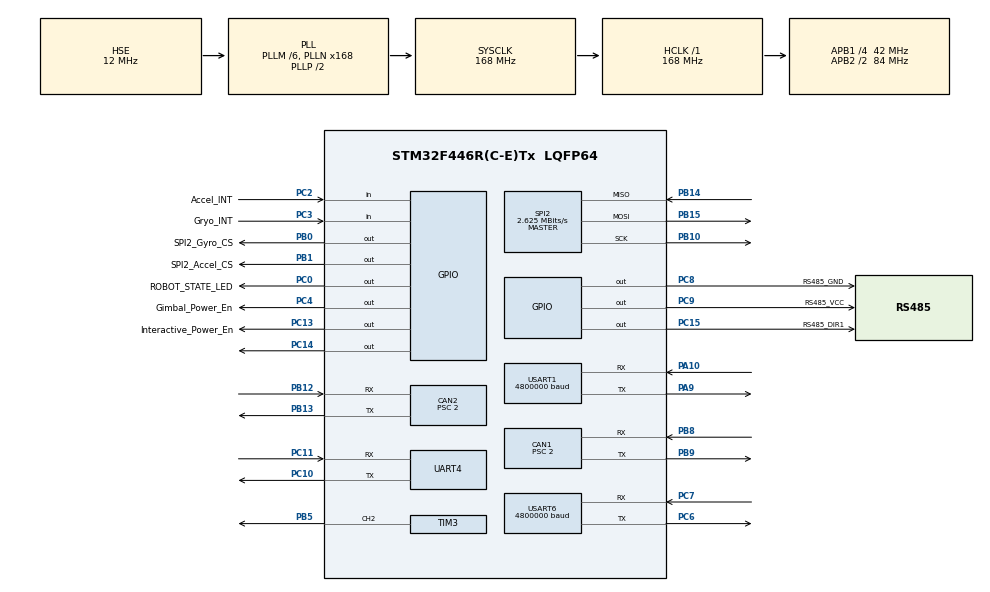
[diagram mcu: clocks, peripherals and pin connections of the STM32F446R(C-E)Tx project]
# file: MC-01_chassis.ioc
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CAN1.BS1=CAN_BS1_15TQ
CAN1.BS2=CAN_BS2_5TQ
CAN1.CalculateBaudRate=1000000
CAN1.CalculateTimeBit=1000
CAN1.CalculateTimeQuantum=47.61904761904762
CAN1.NART=DISABLE
CAN1.Prescaler=2
CAN2.BS1=CAN_BS1_15TQ
CAN2.BS2=CAN_BS2_5TQ
CAN2.CalculateBaudRate=1000000
CAN2.CalculateTimeBit=1000
CAN2.CalculateTimeQuantum=47.61904761904762
CAN2.NART=ENABLE
CAN2.Prescaler=2
Dma.Request0=USART1_RX
Dma.Request1=USART6_RX
Dma.Request2=USART1_TX
Dma.Request3=USART6_TX
Dma.USART1_RX.0.Direction=DMA_PERIPH_TO_MEMORY
Dma.USART1_RX.0.FIFOMode=DMA_FIFOMODE_DISABLE
Dma.USART1_RX.0.Instance=DMA2_Stream2
Dma.USART1_RX.0.MemDataAlignment=DMA_MDATAALIGN_BYTE
Dma.USART1_RX.0.MemInc=DMA_MINC_ENABLE
Dma.USART1_RX.0.Mode=DMA_NORMAL
Dma.USART1_RX.0.PeriphDataAlignment=DMA_PDATAALIGN_BYTE
Dma.USART1_RX.0.PeriphInc=DMA_PINC_DISABLE
Dma.USART1_RX.0.Priority=DMA_PRIORITY_HIGH
Dma.USART1_TX.2.Direction=DMA_MEMORY_TO_PERIPH
Dma.USART1_TX.2.FIFOMode=DMA_FIFOMODE_DISABLE
Dma.USART1_TX.2.Instance=DMA2_Stream7
Dma.USART1_TX.2.MemDataAlignment=DMA_MDATAALIGN_BYTE
Dma.USART1_TX.2.MemInc=DMA_MINC_ENABLE
Dma.USART1_TX.2.Mode=DMA_NORMAL
Dma.USART1_TX.2.PeriphDataAlignment=DMA_PDATAALIGN_BYTE
Dma.USART1_TX.2.PeriphInc=DMA_PINC_DISABLE
Dma.USART1_TX.2.Priority=DMA_PRIORITY_LOW
Dma.USART6_RX.1.Direction=DMA_PERIPH_TO_MEMORY
Dma.USART6_RX.1.FIFOMode=DMA_FIFOMODE_DISABLE
Dma.USART6_RX.1.Instance=DMA2_Stream1
Dma.USART6_RX.1.MemDataAlignment=DMA_MDATAALIGN_BYTE
Dma.USART6_RX.1.MemInc=DMA_MINC_ENABLE
Dma.USART6_RX.1.Mode=DMA_NORMAL
Dma.USART6_RX.1.PeriphDataAlignment=DMA_PDATAALIGN_BYTE
Dma.USART6_RX.1.PeriphInc=DMA_PINC_DISABLE
Dma.USART6_RX.1.Priority=DMA_PRIORITY_HIGH
Dma.USART6_TX.3.Direction=DMA_MEMORY_TO_PERIPH
Dma.USART6_TX.3.FIFOMode=DMA_FIFOMODE_DISABLE
Dma.USART6_TX.3.Instance=DMA2_Stream6
Dma.USART6_TX.3.MemDataAlignment=DMA_MDATAALIGN_BYTE
Dma.USART6_TX.3.MemInc=DMA_MINC_ENABLE
Dma.USART6_TX.3.Mode=DMA_NORMAL
Dma.USART6_TX.3.PeriphDataAlignment=DMA_PDATAALIGN_BYTE
Dma.USART6_TX.3.PeriphInc=DMA_PINC_DISABLE
Dma.USART6_TX.3.Priority=DMA_PRIORITY_LOW
FREERTOS.INCLUDE_vTaskDelayUntil=1
FREERTOS.Tasks01=defaultTask,0,128,StartDefaultTask,Default,NULL,Dynamic,NULL,NULL
Mcu.Family=STM32F4
Mcu.Name=STM32F446R(C-E)Tx
Mcu.Package=LQFP64
NVIC.CAN1_RX0_IRQn=true\:5\:0\:false\:false\:true\:true\:true\:true\:true
NVIC.CAN2_RX0_IRQn=true\:5\:0\:false\:false\:true\:true\:true\:true\:true
NVIC.CAN2_TX_IRQn=true\:5\:0\:false\:false\:true\:true\:true\:true\:true
NVIC.DMA2_Stream1_IRQn=true\:5\:0\:false\:false\:true\:true\:false\:true\:true
NVIC.DMA2_Stream2_IRQn=true\:5\:0\:false\:false\:true\:true\:false\:true\:true
NVIC.DMA2_Stream6_IRQn=true\:5\:0\:false\:false\:true\:true\:false\:true\:true
NVIC.DMA2_Stream7_IRQn=true\:5\:0\:false\:false\:true\:true\:false\:true\:true
NVIC.PriorityGroup=NVIC_PRIORITYGROUP_4
NVIC.TIM1_UP_TIM10_IRQn=true\:5\:0\:false\:false\:true\:false\:false\:true\:true
NVIC.TIM5_IRQn=true\:5\:0\:false\:false\:true\:true\:true\:true\:true
NVIC.TimeBase=TIM1_UP_TIM10_IRQn
NVIC.TimeBaseIP=TIM1
NVIC.UART4_IRQn=true\:5\:0\:false\:false\:true\:true\:true\:true\:true
NVIC.USART1_IRQn=true\:5\:0\:false\:false\:true\:true\:true\:true\:true
NVIC.USART6_IRQn=true\:5\:0\:false\:false\:true\:true\:true\:true\:true
PA10.Mode=Asynchronous
PA10.Signal=USART1_RX
PA13.Mode=Serial_Wire
PA13.Signal=SYS_JTMS-SWDIO
PA14.Mode=Serial_Wire
PA14.Signal=SYS_JTCK-SWCLK
PA9.Mode=Asynchronous
PA9.Signal=USART1_TX
PB0.GPIO_Label=SPI2_Gyro_CS
PB0.Signal=GPIO_Output
PB1.GPIO_Label=SPI2_Accel_CS
PB1.Signal=GPIO_Output
PB10.Mode=Full_Duplex_Master
PB10.Signal=SPI2_SCK
PB12.Mode=CAN_Activate
PB12.Signal=CAN2_RX
PB13.Mode=CAN_Activate
PB13.Signal=CAN2_TX
PB14.Mode=Full_Duplex_Master
PB14.Signal=SPI2_MISO
PB15.Mode=Full_Duplex_Master
PB15.Signal=SPI2_MOSI
PB5.Signal=S_TIM3_CH2
PB8.Mode=CAN_Activate
PB8.Signal=CAN1_RX
PB9.Mode=CAN_Activate
PB9.Signal=CAN1_TX
PC0.GPIO_Label=ROBOT_STATE_LED
PC0.PinState=GPIO_PIN_SET
PC0.Signal=GPIO_Output
PC10.Mode=Asynchronous
PC10.Signal=UART4_TX
PC11.Mode=Asynchronous
PC11.Signal=UART4_RX
PC13.GPIO_Label=Interactive_Power_En
PC13.PinState=GPIO_PIN_SET
PC13.Signal=GPIO_Output
PC14-OSC32_IN.PinState=GPIO_PIN_SET
PC14-OSC32_IN.Signal=GPIO_Output
PC15-OSC32_OUT.GPIO_Label=RS485_DIR1
PC15-OSC32_OUT.PinState=GPIO_PIN_RESET
PC15-OSC32_OUT.Signal=GPIO_Output
PC2.GPIO_Label=Accel_INT
PC2.Signal=GPIO_Input
PC3.GPIO_Label=Gryo_INT
PC3.Signal=GPIO_Input
PC4.GPIO_Label=Gimbal_Power_En
PC4.PinState=GPIO_PIN_SET
PC4.Signal=GPIO_Output
PC6.Mode=Asynchronous
PC6.Signal=USART6_TX
PC7.Mode=Asynchronous
PC7.Signal=USART6_RX
PC8.GPIO_Label=RS485_GND
PC8.Signal=GPIO_Output
PC9.GPIO_Label=RS485_VCC
PC9.PinState=GPIO_PIN_SET
PC9.Signal=GPIO_Output
PH0-OSC_IN.Mode=HSE-External-Oscillator
PH0-OSC_IN.Signal=RCC_OSC_IN
PH1-OSC_OUT.Mode=HSE-External-Oscillator
PH1-OSC_OUT.Signal=RCC_OSC_OUT
ProjectManager.HeapSize=0x200
ProjectManager.StackSize=0x400
ProjectManager.TargetToolchain=MDK-ARM V5.32
RCC.AHBFreq_Value=168000000
RCC.APB1CLKDivider=RCC_HCLK_DIV4
RCC.APB1Freq_Value=42000000
RCC.APB1TimFreq_Value=84000000
RCC.APB2CLKDivider=RCC_HCLK_DIV2
RCC.APB2Freq_Value=84000000
RCC.APB2TimFreq_Value=168000000
RCC.CortexFreq_Value=168000000
RCC.HCLKFreq_Value=168000000
RCC.HSE_VALUE=12000000
RCC.PLLM=6
RCC.PLLN=168
RCC.PLLSourceVirtual=RCC_PLLSOURCE_HSE
RCC.SYSCLKFreq_VALUE=168000000
RCC.SYSCLKSource=RCC_SYSCLKSOURCE_PLLCLK
RCC.USBFreq_Value=168000000
RCC.VCOOutputFreq_Value=336000000
SH.S_TIM3_CH2.0=TIM3_CH2,PWM Generation2 CH2
SPI2.BaudRatePrescaler=SPI_BAUDRATEPRESCALER_16
SPI2.CalculateBaudRate=2.625 MBits/s
SPI2.Direction=SPI_DIRECTION_2LINES
SPI2.Mode=SPI_MODE_MASTER
SPI2.VirtualType=VM_MASTER
TIM3.Channel-PWM\ Generation2\ CH2=TIM_CHANNEL_2
TIM3.Period=4999
TIM5.AutoReloadPreload=TIM_AUTORELOAD_PRELOAD_ENABLE
TIM5.Channel-Output\ Compare1\ No\ Output=TIM_CHANNEL_1
TIM5.Period=1000-1
TIM5.Prescaler=83
UART4.VirtualMode=Asynchronous
USART1.BaudRate=4800000
USART1.VirtualMode=VM_ASYNC
USART6.BaudRate=4800000
USART6.OverSampling=UART_OVERSAMPLING_16
USART6.VirtualMode=VM_ASYNC
VP_FREERTOS_VS_CMSIS_V1.Mode=CMSIS_V1
VP_SYS_VS_tim1.Mode=TIM1
VP_TIM3_VS_ClockSourceINT.Mode=Internal
VP_TIM5_VS_ClockSourceINT.Mode=Internal
VP_TIM5_VS_no_output1.Mode=Output Compare1 No Output
board=custom

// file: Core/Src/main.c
/* USER CODE BEGIN Header */
/**
  ******************************************************************************
  * @file           : main.c
  * @brief          : Main program body
  ******************************************************************************
  * @attention
  *
  * Copyright (c) 2024 STMicroelectronics.
  * All rights reserved.
  *
  * This software is licensed under terms that can be found in the LICENSE file
  * in the root directory of this software component.
  * If no LICENSE file comes with this software, it is provided AS-IS.
  *
  ******************************************************************************
  */
/* USER CODE END Header */
#include "main.h"
#include "cmsis_os.h"
#include "can.h"
#include "dma.h"
#include "spi.h"
#include "tim.h"
#include "usart.h"
#include "gpio.h"

/* USER CODE BEGIN Includes */
#include "BMI088driver.h"
#include "BMI088Middleware.h"
#include "BMI088reg.h"
#include "Dwt_Timer.h"
#include "PID.h"
#include "Can_Bus.h"
#include "RS485.h"
#include "Configuration.h"

/* USER CODE END Includes */

void SystemClock_Config(void);
void MX_FREERTOS_Init(void);
/* USER CODE BEGIN PFP */
void A1_Init_Left(void);
void A1_Init_Right(void);

/* USER CODE END PFP */

/* USER CODE BEGIN 0 */
void User_Init(void)
{
	A1_Init_Left();
  A1_Init_Right();

//	PowerLimit.Flag = 0;
//	PowerLimit.RemainPower[2] = 60;
//	PowerLimit.Real_Power[2]  = 75;
//	PowerLimit.MaxSpeed       = CHASSIS_MAX_SPEED;//设定�??大转�??
//	Chassis.Position.Flag     = 1;

	Robot_Status.Body.Body_Upright_Status = NO;
  Robot_Status.Body.Body_Soar_Status = NO;
  Robot_Status.Leg.Leg_Init_Status = NO;
  Robot_Status.Leg.Leg_Height_Status = LEG_LOW;
  Robot_Status.Gimbal.Gimbal_Reposition_Status = NO;
  Robot_Status.INS.INS_Init_Status = NO;
  Robot_Status.INS.INS_Fail_Status = NO;
	State_Variables.target_Leg_Length_Step[0] = L0_LOW;
	State_Variables.target_Leg_Length_Step[1] = L0_LOW;

//  SpinTop.Speed = ROTATE_NORMAL_SPEED;
//	Command.SpeedMinish = 1;
//	Command.SpeedZoom = 1;

	//PID初始化分别为KP KI KD �??大输�?? 死区 积分范围 �??大输�?? �??大积分�?�（输出�??=�??大积分�??*KI�??
	//注意！！！！！！
	//积分范围只有在位置式PID计算的时候起作用
		//底盘电机
//	PID_Init(&Balance_Yaw_Position_pid,10,0,900,6.0f,0,50,10000,200,0.05f,POSITIONAL);//底盘跟随PD
	PID_Init(&Balance_Yaw_Position_pid,9.0f,0.0,10,6.0f,0,NORMAL_HALF_PI,10000,2,0.05f,POSITIONAL);//底盘跟随PD
	//PID_Init(&Balance_Yaw_Speed_pid,10,0,0,5,0,0,3,0,POSITIONAL);
	PID_Init(&Leg_theta_Harmonize_pid[0],10,0,0,10,0,0.05,2,1,0.001f,POSITIONAL);//关节电机抗劈叉PD
	//PID_Init(&Leg_theta_Harmonize_pid[1],0,0,0,10,0,0,4,0,POSITIONAL);//轮毂电机抗劈叉PD
//	PID_Init(&Leg_ROLL_Compensate_pid[0],500,0,1000,60,0,0,3.14,0,0.05f,POSITIONAL);
	PID_Init(&Leg_ROLL_Compensate_pid[0],200,0,500,60,0,0,3.14,0,0.05f,POSITIONAL);
	PID_Init(&Leg_ROLL_Compensate_pid[1],50.0f,0.2,150,30,0,0.05f,3.14,15.0f,0.05f,POSITIONAL);
	PID_Init(&L0_pid[0],0.8f,0.0f,150,40,0,3,360,5.0f,0.05f,POSITIONAL);//腿长控制
	PID_Init(&L0_pid[1],0.8f,0.0f,150,40,0,3,360,5.0f,0.05f,POSITIONAL);
	PID_Init(&Wheel_Anti_Slip_pid[0],1.0f,0.0f,0,3,0,0,10,0,0.05f,POSITIONAL);
	PID_Init(&Wheel_Anti_Slip_pid[1],1.0f,0.0f,0,3,0,0,10,0,0.05f,POSITIONAL);
	PID_Init(&TempCtrl_pid, 800, 0.02, 5.0f, 600, 0, 0, 100, 600,0.05, POSITIONAL);
  PID_Init(&Wheel_Damping_pid[0], 0.2f, 0.0f, 0.0f, 2, 0, 0, 10, 0, 0.05f, POSITIONAL);
  PID_Init(&Wheel_Damping_pid[1], 0.2f, 0.0f, 0.0f, 2, 0, 0, 10, 0, 0.05f, POSITIONAL);
}

void A1_Init_Left(void)
{
  A1_Transmit_Data_Left[0]  = 0xFE;
	A1_Transmit_Data_Left[1]  = 0xEE;
	A1_Transmit_Data_Left[2]  = 0xBB;
	A1_Transmit_Data_Left[3]  = 0x00;
	A1_Transmit_Data_Left[4]  = 0x05;
	A1_Transmit_Data_Left[5]  = 0xFF;
	A1_Transmit_Data_Left[6]  = 0x00;
	A1_Transmit_Data_Left[7]  = 0x00;
	A1_Transmit_Data_Left[8]  = 0x00;
	A1_Transmit_Data_Left[9]  = 0x00;
	A1_Transmit_Data_Left[10] = 0x00;
	A1_Transmit_Data_Left[11] = 0x00;
	A1_Transmit_Data_Left[12] = 0;
	A1_Transmit_Data_Left[13] = 0;
	A1_Transmit_Data_Left[14] = 0;
	A1_Transmit_Data_Left[15] = 0;
	A1_Transmit_Data_Left[16] = 0;
	A1_Transmit_Data_Left[17] = 0;
	A1_Transmit_Data_Left[18] = 0;
	A1_Transmit_Data_Left[19] = 0;
	A1_Transmit_Data_Left[20] = 0;
	A1_Transmit_Data_Left[21] = 0;
	A1_Transmit_Data_Left[22] = 0;
	A1_Transmit_Data_Left[23] = 0;
	A1_Transmit_Data_Left[24] = 0x00;
	A1_Transmit_Data_Left[25] = 0x00;
	A1_Transmit_Data_Left[26] = 0x00;
	A1_Transmit_Data_Left[27] = 0x00;
	A1_Transmit_Data_Left[28] = 0x00;
	A1_Transmit_Data_Left[29] = 0x00;
	A1_Transmit_Data_Left[30] = 0;
	A1_Transmit_Data_Left[31] = 0;
	A1_Transmit_Data_Left[32] = 0;
	A1_Transmit_Data_Left[33] = 0;
}

void A1_Init_Right(void)
{
  A1_Transmit_Data_Right[0]  = 0xFE;
	A1_Transmit_Data_Right[1]  = 0xEE;
	A1_Transmit_Data_Right[2]  = 0xBB;
	A1_Transmit_Data_Right[3]  = 0x00;
	A1_Transmit_Data_Right[4]  = 0x05;
	A1_Transmit_Data_Right[5]  = 0xFF;
	A1_Transmit_Data_Right[6]  = 0x00;
	A1_Transmit_Data_Right[7]  = 0x00;
	A1_Transmit_Data_Right[8]  = 0x00;
	A1_Transmit_Data_Right[9]  = 0x00;
	A1_Transmit_Data_Right[10] = 0x00;
	A1_Transmit_Data_Right[11] = 0x00;
	A1_Transmit_Data_Right[12] = 0;
	A1_Transmit_Data_Right[13] = 0;
	A1_Transmit_Data_Right[14] = 0;
	A1_Transmit_Data_Right[15] = 0;
	A1_Transmit_Data_Right[16] = 0;
	A1_Transmit_Data_Right[17] = 0;
	A1_Transmit_Data_Right[18] = 0;
	A1_Transmit_Data_Right[19] = 0;
	A1_Transmit_Data_Right[20] = 0;
	A1_Transmit_Data_Right[21] = 0;
	A1_Transmit_Data_Right[22] = 0;
	A1_Transmit_Data_Right[23] = 0;
	A1_Transmit_Data_Right[24] = 0x00;
	A1_Transmit_Data_Right[25] = 0x00;
	A1_Transmit_Data_Right[26] = 0x00;
	A1_Transmit_Data_Right[27] = 0x00;
	A1_Transmit_Data_Right[28] = 0x00;
	A1_Transmit_Data_Right[29] = 0x00;
	A1_Transmit_Data_Right[30] = 0;
	A1_Transmit_Data_Right[31] = 0;
	A1_Transmit_Data_Right[32] = 0;
	A1_Transmit_Data_Right[33] = 0;
}
/* USER CODE END 0 */

int main(void)
{

  /* MCU Configuration--------------------------------------------------------*/

  /* Reset of all peripherals, Initializes the Flash interface and the Systick. */
  HAL_Init();

  /* Configure the system clock */
  SystemClock_Config();

  /* Initialize all configured peripherals */
  MX_GPIO_Init();
  MX_DMA_Init();
  MX_SPI2_Init();
  MX_TIM3_Init();
  MX_CAN1_Init();
  MX_USART1_UART_Init();
  MX_CAN2_Init();
  MX_UART4_Init();
  MX_USART6_UART_Init();
  MX_TIM5_Init();
  /* USER CODE BEGIN 2 */
  DWT_Init(168);
  HAL_Delay(50);
  CAN_Start();
  HAL_Delay(50);
  RS485_Start();
  HAL_TIM_PWM_Start(&htim3, TIM_CHANNEL_2);

  while(BMI088_init(&hspi2,1) )
  {
      ;
  }
  Robot_Status.INS.INS_Init_Status = YES;
  HAL_Delay(50);
  /* USER CODE END 2 */

  /* Call init function for freertos objects (in cmsis_os2.c) */
  MX_FREERTOS_Init();

  /* Start scheduler */
  osKernelStart();

  /* We should never get here as control is now taken by the scheduler */

  /* Infinite loop */
  while (1)
  {

  }
}

void SystemClock_Config(void)
{
  RCC_OscInitTypeDef RCC_OscInitStruct = {0};
  RCC_ClkInitTypeDef RCC_ClkInitStruct = {0};

  /** Configure the main internal regulator output voltage
  */
  __HAL_RCC_PWR_CLK_ENABLE();
  __HAL_PWR_VOLTAGESCALING_CONFIG(PWR_REGULATOR_VOLTAGE_SCALE1);

  /** Initializes the RCC Oscillators according to the specified parameters
  * in the RCC_OscInitTypeDef structure.
  */
  RCC_OscInitStruct.OscillatorType = RCC_OSCILLATORTYPE_HSE;
  RCC_OscInitStruct.HSEState = RCC_HSE_ON;
  RCC_OscInitStruct.PLL.PLLState = RCC_PLL_ON;
  RCC_OscInitStruct.PLL.PLLSource = RCC_PLLSOURCE_HSE;
  RCC_OscInitStruct.PLL.PLLM = 6;
  RCC_OscInitStruct.PLL.PLLN = 168;
  RCC_OscInitStruct.PLL.PLLP = RCC_PLLP_DIV2;
  RCC_OscInitStruct.PLL.PLLQ = 2;
  RCC_OscInitStruct.PLL.PLLR = 2;
  if (HAL_RCC_OscConfig(&RCC_OscInitStruct) != HAL_OK)
  {
    Error_Handler();
  }

  /** Initializes the CPU, AHB and APB buses clocks
  */
  RCC_ClkInitStruct.ClockType = RCC_CLOCKTYPE_HCLK|RCC_CLOCKTYPE_SYSCLK
                              |RCC_CLOCKTYPE_PCLK1|RCC_CLOCKTYPE_PCLK2;
  RCC_ClkInitStruct.SYSCLKSource = RCC_SYSCLKSOURCE_PLLCLK;
  RCC_ClkInitStruct.AHBCLKDivider = RCC_SYSCLK_DIV1;
  RCC_ClkInitStruct.APB1CLKDivider = RCC_HCLK_DIV4;
  RCC_ClkInitStruct.APB2CLKDivider = RCC_HCLK_DIV2;

  if (HAL_RCC_ClockConfig(&RCC_ClkInitStruct, FLASH_LATENCY_5) != HAL_OK)
  {
    Error_Handler();
  }
}

void HAL_TIM_PeriodElapsedCallback(TIM_HandleTypeDef *htim)
{
  if (htim->Instance == TIM1) {
    HAL_IncTick();
  }
  /* USER CODE BEGIN Callback 1 */

  if(htim->Instance == TIM5)
  {
	Status_Counter[0]++;
  }
  /* USER CODE END Callback 1 */
}

void Error_Handler(void)
{
  __disable_irq();
  while (1)
  {
  }
}

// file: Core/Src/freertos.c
/* USER CODE BEGIN Header */
/**
  ******************************************************************************
  * File Name          : freertos.c
  * Description        : Code for freertos applications
  ******************************************************************************
  * @attention
  *
  * Copyright (c) 2024 STMicroelectronics.
  * All rights reserved.
  *
  * This software is licensed under terms that can be found in the LICENSE file
  * in the root directory of this software component.
  * If no LICENSE file comes with this software, it is provided AS-IS.
  *
  ******************************************************************************
  */
/* USER CODE END Header */

#include "FreeRTOS.h"
#include "task.h"
#include "main.h"
#include "cmsis_os.h"

/* USER CODE BEGIN Includes */

#include "Balance_Task.h"
#include "A1_Task.h"
#include "LK9025_Task.h"
#include "Monitor_Task.h"
#include "Communicate_Task.h"

/* USER CODE END Includes */

/* USER CODE BEGIN Variables */
osThreadId ImuTaskHandle;
osThreadId MonitorTaskHandle;
osThreadId ChassisTaskHandle;
osThreadId A1_Tx_Task_Handle;
osThreadId LK9025_Tx_Task_Handle;
osThreadId OdomTaskHandle;
osThreadId CommunicateTaskHandle;
/* USER CODE END Variables */
osThreadId defaultTaskHandle;

void StartDefaultTask(void const * argument);

void MX_FREERTOS_Init(void); /* (MISRA C 2004 rule 8.1) */

/* GetIdleTaskMemory prototype (linked to static allocation support) */
void vApplicationGetIdleTaskMemory( StaticTask_t **ppxIdleTaskTCBBuffer, StackType_t **ppxIdleTaskStackBuffer, uint32_t *pulIdleTaskStackSize );

/* USER CODE BEGIN GET_IDLE_TASK_MEMORY */
static StaticTask_t xIdleTaskTCBBuffer;
static StackType_t xIdleStack[configMINIMAL_STACK_SIZE];

void vApplicationGetIdleTaskMemory( StaticTask_t **ppxIdleTaskTCBBuffer, StackType_t **ppxIdleTaskStackBuffer, uint32_t *pulIdleTaskStackSize )
{
  *ppxIdleTaskTCBBuffer = &xIdleTaskTCBBuffer;
  *ppxIdleTaskStackBuffer = &xIdleStack[0];
  *pulIdleTaskStackSize = configMINIMAL_STACK_SIZE;
  /* place for user code */
}
/* USER CODE END GET_IDLE_TASK_MEMORY */

void MX_FREERTOS_Init(void) {

  /* Create the thread(s) */
  /* definition and creation of defaultTask */
  osThreadDef(defaultTask, StartDefaultTask, osPriorityNormal, 0, 128);
  defaultTaskHandle = osThreadCreate(osThread(defaultTask), NULL);

}

void StartDefaultTask(void const * argument)
{
  /* USER CODE BEGIN StartDefaultTask */
	taskENTER_CRITICAL();

 osThreadDef(Monitor_Task, Monitor_Task, osPriorityNormal,0,128);
  MonitorTaskHandle = osThreadCreate(osThread(Monitor_Task), NULL);
    taskEXIT_CRITICAL();

	INS_Init();
	taskENTER_CRITICAL();
    osThreadDef(INS_Task, INS_Task, osPriorityRealtime,0,512);
  ImuTaskHandle = osThreadCreate(osThread(INS_Task), NULL);

    osThreadDef(Balance_Task, Balance_Task, osPriorityAboveNormal,0,1024);
  ChassisTaskHandle = osThreadCreate(osThread(Balance_Task), NULL);

	osThreadDef(A1_Tx_Task, A1_Tx_Task, osPriorityNormal,0,256);
  A1_Tx_Task_Handle = osThreadCreate(osThread(A1_Tx_Task), NULL);

	osThreadDef(LK9025_Tx_Task, LK9025_Tx_Task, osPriorityNormal,0,256);
  LK9025_Tx_Task_Handle = osThreadCreate(osThread(LK9025_Tx_Task), NULL);

	osThreadDef(Communicate_Task, Communicate_Task, osPriorityNormal,0,128);
  CommunicateTaskHandle = osThreadCreate(osThread(Communicate_Task ), NULL);

  User_Init();

	vTaskDelete(defaultTaskHandle);	//删锟斤拷锟斤拷始锟斤拷锟斤拷锟斤�?
	taskEXIT_CRITICAL();            //锟剿筹拷锟劫斤拷锟斤�?
  /* Infinite loop */
  for(;;)
  {
    osDelay(1);
  }
  /* USER CODE END StartDefaultTask */
}
